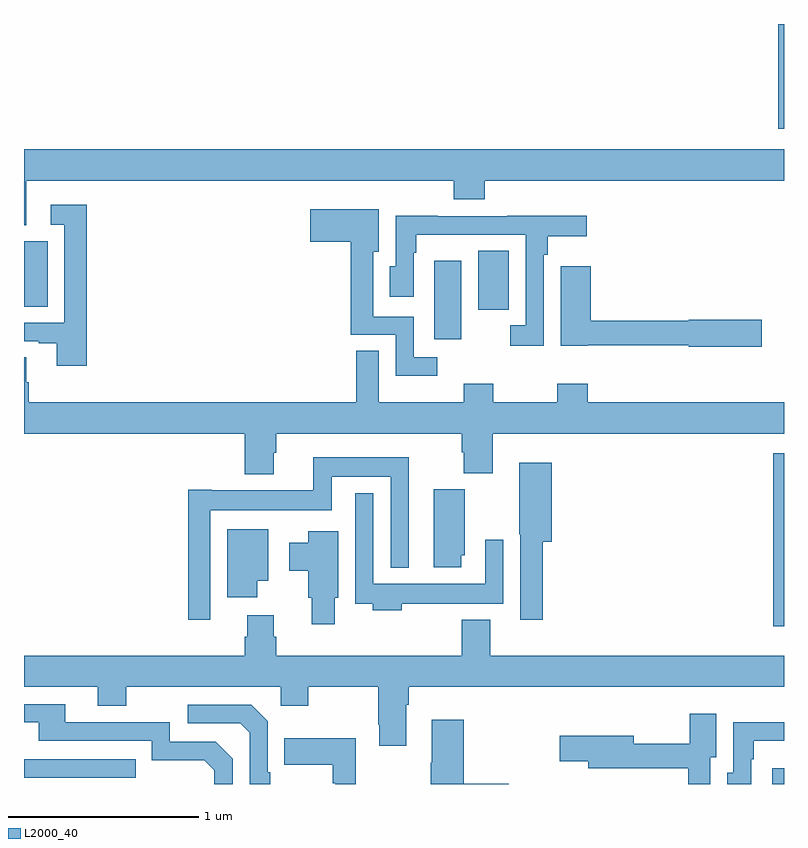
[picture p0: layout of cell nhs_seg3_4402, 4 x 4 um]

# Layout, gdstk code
import gdstk
lib = gdstk.Library(unit=1e-6, precision=1e-09)
def R(c, l, rs):  # rectangles x0, y0, x1, y1
    for r in rs: c.add(gdstk.rectangle(r[:2], r[2:], *l))
def P(c, l, *ps):  # polygons
    for p in ps: c.add(gdstk.Polygon(p, *l))
L2000_40 = (2000, 40)

nhs_seg3_4402 = lib.new_cell('nhs_seg3_4402')
R(nhs_seg3_4402, L2000_40, [(348.938,704.4,349,704.482), (345,704.433,345.587,704.529), (348.944,705.23,349,706.141), (347.159,706.74,347.302,707.155), (347.39,706.896,347.551,707.207), (345,706.912,345.124,707.256), (348.97,707.85,349,708.4)])
P(nhs_seg3_4402, L2000_40, [(345.013,707.576),(347.261,707.576),(347.261,707.477),(347.426,707.477),(347.426,707.576),(349,707.576),(349,707.74),(345,707.74),(345,707.341),(345.013,707.341)],
  [(345.329,707.449),(345.141,707.449),(345.141,707.343),(345.213,707.343),(345.213,706.827),(345,706.827),(345,706.731),(345.077,706.731),(345.077,706.719),(345.173,706.719),(345.173,706.602),(345.329,706.602)],
  [(347.176,706.647),(347.052,706.647),(347.052,706.86),(346.837,706.86),(346.837,707.201),(346.867,707.201),(346.867,707.425),(346.506,707.425),(346.506,707.255),(346.719,707.255),(346.719,706.764),(346.956,706.764),(346.956,706.55),(347.176,706.55)],
  [(347.736,707.186),(347.756,707.186),(347.756,707.282),(347.962,707.282),(347.962,707.39),(347.543,707.39),(347.543,707.388),(347.177,707.388),(347.177,707.39),(346.956,707.39),(346.956,707.124),(346.925,707.124),(346.925,706.965),(347.052,706.965),(347.052,707.195),(347.065,707.195),(347.065,707.291),(347.294,707.291),(347.294,707.292),(347.64,707.292),(347.64,706.815),(347.559,706.815),(347.559,706.707),(347.736,706.707)],
  [(348.883,706.844),(348.498,706.844),(348.498,706.838),(347.984,706.838),(347.984,707.125),(347.825,707.125),(347.825,706.706),(347.967,706.706),(347.967,706.71),(348.498,706.71),(348.498,706.702),(348.883,706.702)],
  [(346.315,706.143),(346.328,706.143),(346.328,706.244),(347.303,706.244),(347.303,706.145),(347.315,706.145),(347.315,706.036),(347.468,706.036),(347.468,706.244),(349,706.244),(349,706.408),(347.966,706.408),(347.966,706.507),(347.806,706.507),(347.806,706.408),(347.469,706.408),(347.469,706.507),(347.314,706.507),(347.314,706.408),(346.867,706.408),(346.867,706.679),(346.749,706.679),(346.749,706.408),(345.026,706.408),(345.026,706.514),(345.013,706.514),(345.013,706.646),(345,706.646),(345,706.244),(346.163,706.244),(346.163,706.031),(346.315,706.031)],
  [(345.981,705.842),(346.62,705.842),(346.62,706.016),(346.929,706.016),(346.929,705.539),(347.026,705.539),(347.026,706.12),(346.523,706.12),(346.523,705.946),(345.988,705.946),(345.988,705.949),(345.865,705.949),(345.865,705.264),(345.981,705.264)],
  [(347.729,705.674),(347.777,705.674),(347.777,706.09),(347.606,706.09),(347.606,705.714),(347.613,705.714),(347.613,705.264),(347.729,705.264)],
  [(347.302,705.603),(347.32,705.603),(347.32,705.951),(347.156,705.951),(347.156,705.54),(347.302,705.54)],
  [(346.988,705.348),(347.219,705.348),(347.219,705.35),(347.523,705.35),(347.523,705.685),(347.427,705.685),(347.427,705.454),(346.839,705.454),(346.839,705.931),(346.743,705.931),(346.743,705.348),(346.835,705.348),(346.835,705.314),(346.988,705.314)],
  [(346.228,705.47),(346.285,705.47),(346.285,705.742),(346.07,705.742),(346.07,705.384),(346.228,705.384)],
  [(346.636,705.381),(346.654,705.381),(346.654,705.73),(346.496,705.73),(346.496,705.67),(346.397,705.67),(346.397,705.523),(346.496,705.523),(346.496,705.381),(346.514,705.381),(346.514,705.24),(346.636,705.24)],
  [(347.011,704.816),(347.024,704.816),(347.024,704.912),(349,704.912),(349,705.076),(347.455,705.076),(347.455,705.265),(347.303,705.265),(347.303,705.076),(346.328,705.076),(346.328,705.174),(346.315,705.174),(346.315,705.289),(346.175,705.289),(346.175,705.174),(346.163,705.174),(346.163,705.076),(345,705.076),(345,704.912),(345.389,704.912),(345.389,704.813),(345.537,704.813),(345.537,704.912),(346.35,704.912),(346.35,704.813),(346.497,704.813),(346.497,704.912),(346.864,704.912),(346.864,704.713),(346.871,704.713),(346.871,704.601),(347.011,704.601)],
  [(346.098,704.532),(346.008,704.622),(345.768,704.622),(345.768,704.724),(345.217,704.724),(345.217,704.82),(345,704.82),(345,704.724),(345.077,704.724),(345.077,704.628),(345.672,704.628),(345.672,704.525),(345.949,704.525),(346.002,704.472),(346.002,704.4),(346.098,704.4)],
  [(346.297,704.461),(346.284,704.461),(346.284,704.73),(346.197,704.817),(345.861,704.817),(345.861,704.721),(346.137,704.721),(346.188,704.67),(346.188,704.4),(346.297,704.4)],
  [(348.613,704.541),(348.643,704.541),(348.643,704.77),(348.505,704.77),(348.505,704.611),(348.208,704.611),(348.208,704.653),(347.82,704.653),(347.82,704.519),(347.969,704.519),(347.969,704.482),(348.495,704.482),(348.495,704.4),(348.613,704.4)],
  [(347.551,704.402),(347.315,704.402),(347.315,704.737),(347.147,704.737),(347.147,704.513),(347.14,704.513),(347.14,704.4),(347.551,704.4)],
  [(348.828,704.531),(348.841,704.531),(348.841,704.627),(349,704.627),(349,704.724),(348.953,704.724),(348.953,704.726),(348.732,704.726),(348.732,704.46),(348.701,704.46),(348.701,704.4),(348.828,704.4)],
  [(346.747,704.641),(346.369,704.641),(346.369,704.501),(346.626,704.501),(346.626,704.405),(346.638,704.405),(346.638,704.4),(346.747,704.4)])

lib.write_gds('nhs_seg3_4402.gds')
